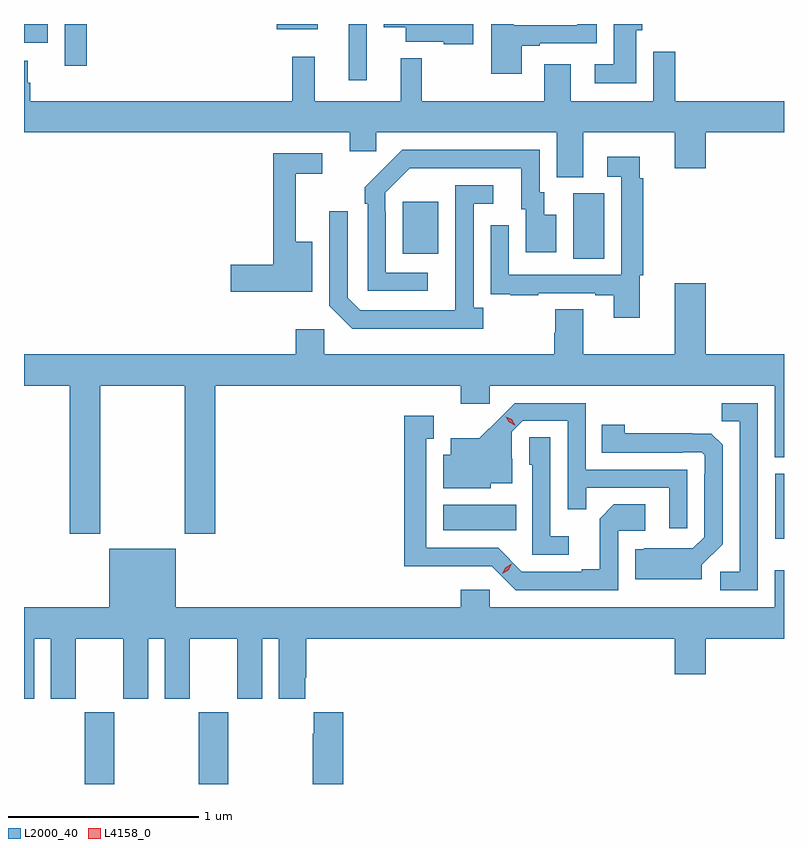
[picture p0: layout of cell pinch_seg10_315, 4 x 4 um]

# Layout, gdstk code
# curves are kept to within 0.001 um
import gdstk
lib = gdstk.Library(unit=1e-6, precision=1e-09)
def R(c, l, rs):  # rectangles x0, y0, x1, y1
    for r in rs: c.add(gdstk.rectangle(r[:2], r[2:], *l))
def P(c, l, *ps):  # polygons
    for p in ps: c.add(gdstk.Polygon(p, *l))
L2000_40 = (2000, 40)
L4158_0 = (4158, 0)

pinch_seg10_315 = lib.new_cell('pinch_seg10_315')
R(pinch_seg10_315, L2000_40, [(497.569,1284.899,497.724,1285.276), (498.169,1284.899,498.324,1285.276), (501.203,1286.19,501.248,1286.533), (499.454,1286.234,499.838,1286.368), (500.138,1287.664,500.302,1288.008), (499.241,1287.689,499.429,1287.964), (498.956,1288.602,499.053,1288.899), (497.463,1288.68,497.579,1288.899), (497.248,1288.8,497.374,1288.899), (498.578,1288.871,498.793,1288.899)])
P(pinch_seg10_315, L2000_40, [(499.867,1288.785),(499.963,1288.785),(499.963,1288.797),(500.263,1288.797),(500.263,1288.899),(500.159,1288.899),(500.159,1288.893),(499.825,1288.893),(499.825,1288.899),(499.706,1288.899),(499.706,1288.638),(499.867,1288.638)],
  [(499.612,1288.899),(499.142,1288.899),(499.142,1288.883),(499.256,1288.883),(499.256,1288.805),(499.458,1288.805),(499.458,1288.793),(499.612,1288.793)],
  [(500.47,1288.866),(500.501,1288.866),(500.501,1288.899),(500.351,1288.899),(500.351,1288.687),(500.253,1288.687),(500.253,1288.586),(500.47,1288.586)],
  [(500.191,1288.328),(500.672,1288.328),(500.672,1288.14),(500.836,1288.14),(500.836,1288.328),(501.248,1288.328),(501.248,1288.492),(500.675,1288.492),(500.675,1288.753),(500.559,1288.753),(500.559,1288.492),(500.125,1288.492),(500.125,1288.687),(499.985,1288.687),(499.985,1288.492),(499.342,1288.492),(499.342,1288.72),(499.232,1288.72),(499.232,1288.492),(498.779,1288.492),(498.779,1288.726),(498.661,1288.726),(498.661,1288.492),(497.282,1288.492),(497.282,1288.59),(497.269,1288.59),(497.269,1288.705),(497.248,1288.705),(497.248,1288.328),(498.962,1288.328),(498.962,1288.23),(499.101,1288.23),(499.101,1288.328),(500.051,1288.328),(500.051,1288.093),(500.191,1288.093)],
  [(499.372,1287.591),(499.152,1287.591),(499.152,1287.911),(499.149,1287.911),(499.149,1288.011),(499.278,1288.14),(499.865,1288.14),(499.865,1287.924),(499.889,1287.924),(499.889,1287.699),(500.05,1287.699),(500.05,1287.895),(499.987,1287.895),(499.987,1288.014),(499.962,1288.014),(499.962,1288.236),(499.238,1288.236),(499.041,1288.041),(499.041,1287.953),(499.056,1287.953),(499.056,1287.495),(499.372,1287.495)],
  [(498.766,1287.754),(498.677,1287.754),(498.677,1288.11),(498.817,1288.11),(498.817,1288.218),(498.559,1288.218),(498.559,1287.632),(498.336,1287.632),(498.336,1287.49),(498.766,1287.49)],
  [(500.489,1287.576),(500.507,1287.576),(500.507,1288.088),(500.489,1288.088),(500.489,1288.201),(500.319,1288.201),(500.319,1288.095),(500.391,1288.095),(500.391,1287.579),(499.8,1287.579),(499.8,1287.841),(499.704,1287.841),(499.704,1287.586),(499.705,1287.586),(499.705,1287.477),(499.807,1287.477),(499.807,1287.471),(499.955,1287.471),(499.955,1287.483),(500.255,1287.483),(500.255,1287.471),(500.351,1287.471),(500.351,1287.354),(500.489,1287.354)],
  [(499.666,1287.406),(499.614,1287.406),(499.614,1287.954),(499.717,1287.954),(499.717,1288.05),(499.518,1288.05),(499.517,1287.393),(499.017,1287.393),(498.951,1287.459),(498.951,1287.913),(498.855,1287.913),(498.855,1287.417),(498.976,1287.296),(499.666,1287.296)],
  [(497.649,1286.996),(498.094,1286.996),(498.094,1286.217),(498.254,1286.217),(498.254,1286.996),(499.547,1286.996),(499.547,1286.901),(499.698,1286.901),(499.698,1286.996),(501.2,1286.996),(501.2,1286.618),(501.248,1286.618),(501.248,1287.16),(500.836,1287.16),(500.836,1287.535),(500.672,1287.535),(500.672,1287.16),(500.191,1287.16),(500.191,1287.398),(500.044,1287.398),(500.044,1287.273),(500.039,1287.273),(500.039,1287.16),(498.828,1287.16),(498.828,1287.292),(498.677,1287.292),(498.677,1287.16),(497.248,1287.16),(497.248,1286.996),(497.489,1286.996),(497.489,1286.217),(497.649,1286.217)],
  [(501.111,1286.904),(500.92,1286.904),(500.92,1286.809),(501.015,1286.809),(501.015,1286.016),(500.913,1286.016),(500.913,1285.92),(501.111,1285.92)],
  [(500.739,1286.553),(500.205,1286.553),(500.205,1286.904),(499.832,1286.904),(499.645,1286.719),(499.493,1286.719),(499.493,1286.632),(499.454,1286.632),(499.454,1286.456),(499.704,1286.456),(499.704,1286.483),(499.819,1286.483),(499.819,1286.612),(499.815,1286.612),(499.815,1286.754),(499.872,1286.811),(500.109,1286.811),(500.109,1286.344),(500.207,1286.344),(500.207,1286.457),(500.643,1286.457),(500.643,1286.244),(500.739,1286.244)],
  [(500.376,1286.232),(500.518,1286.232),(500.518,1286.372),(500.353,1286.372),(500.277,1286.296),(500.277,1286.029),(500.183,1286.029),(500.183,1286.016),(499.869,1286.016),(499.743,1286.142),(499.366,1286.142),(499.366,1286.715),(499.405,1286.715),(499.405,1286.836),(499.248,1286.836),(499.248,1286.045),(499.71,1286.046),(499.836,1285.92),(500.376,1285.92)],
  [(500.815,1286.052),(500.925,1286.162),(500.925,1286.684),(500.866,1286.743),(500.409,1286.744),(500.409,1286.791),(500.29,1286.791),(500.29,1286.643),(500.714,1286.643),(500.714,1286.646),(500.814,1286.646),(500.832,1286.628),(500.832,1286.528),(500.829,1286.528),(500.829,1286.199),(500.769,1286.139),(500.512,1286.14),(500.506,1286.134),(500.465,1286.134),(500.465,1285.976),(500.815,1285.976)],
  [(500.116,1286.203),(500.019,1286.203),(500.019,1286.723),(499.908,1286.723),(499.908,1286.58),(499.923,1286.58),(499.923,1286.106),(500.116,1286.106)],
  [(497.302,1285.664),(497.39,1285.664),(497.39,1285.347),(497.521,1285.347),(497.521,1285.664),(497.771,1285.664),(497.771,1285.347),(497.902,1285.347),(497.902,1285.664),(497.99,1285.664),(497.99,1285.347),(498.121,1285.347),(498.121,1285.664),(498.371,1285.664),(498.371,1285.347),(498.502,1285.347),(498.502,1285.664),(498.59,1285.664),(498.59,1285.347),(498.727,1285.347),(498.727,1285.459),(498.734,1285.459),(498.734,1285.664),(500.672,1285.664),(500.672,1285.476),(500.836,1285.476),(500.836,1285.664),(501.248,1285.664),(501.248,1286.023),(501.2,1286.023),(501.2,1285.828),(499.698,1285.828),(499.698,1285.921),(499.547,1285.921),(499.547,1285.828),(498.046,1285.828),(498.046,1286.137),(497.696,1286.137),(497.696,1285.828),(497.248,1285.828),(497.248,1285.347),(497.302,1285.347)],
  [(498.929,1285.276),(498.773,1285.276),(498.773,1285.163),(498.769,1285.163),(498.769,1284.899),(498.929,1284.899)])
P(pinch_seg10_315, L4158_0, [(499.832,1286.788),(499.802,1286.803),(499.784,1286.833),(499.784,1286.833),(499.784,1286.833),(499.815,1286.818),(499.833,1286.788),(499.833,1286.788)],
  [(499.765,1286.005),(499.765,1286.006),(499.782,1286.038),(499.814,1286.057),(499.814,1286.057),(499.814,1286.057),(499.797,1286.024),(499.765,1286.005)])

lib.write_gds('pinch_seg10_315.gds')
